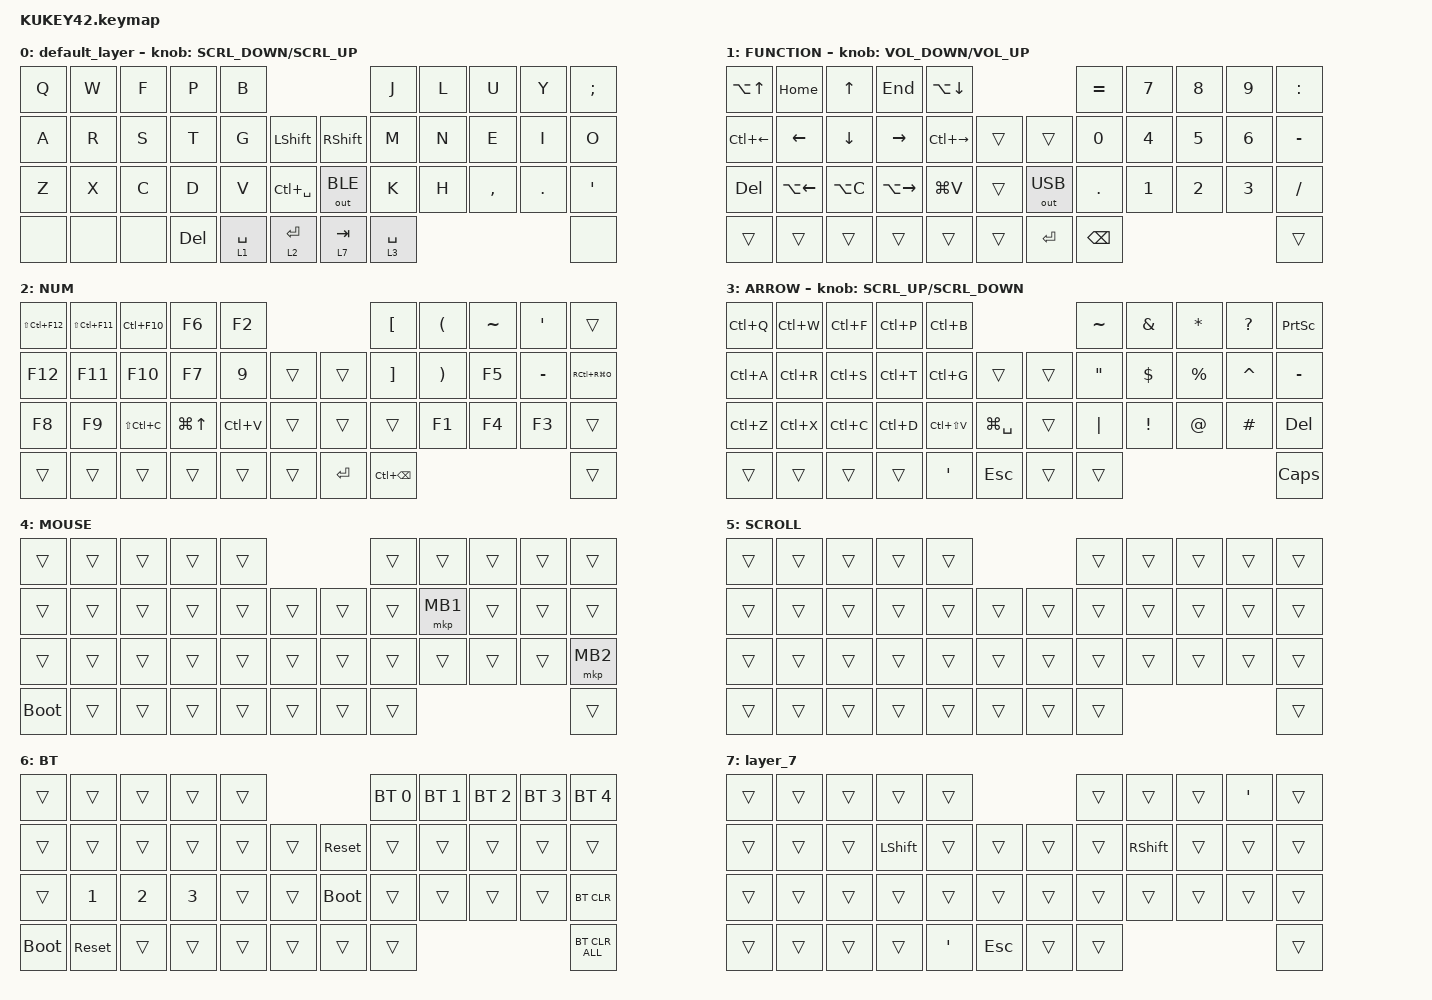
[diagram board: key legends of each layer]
#define ZMK_POINTING_DEFAULT_SCRL_VAL 80

#include <behaviors.dtsi>
#include <dt-bindings/zmk/bt.h>
#include <dt-bindings/zmk/keys.h>
#include <dt-bindings/zmk/outputs.h>
#include <dt-bindings/zmk/pointing.h>

#define MOUSE 4
#define SCROLL 5
#define NUM 6

&mt {
    flavor = "balanced";
    quick-tap-ms = <0>;
};

/ {
    combos {
        compatible = "zmk,combos";

        Rtshift {
            bindings = <&kp RSHIFT>;
            key-positions = <18 19>;
        };

        RtAlt {
            bindings = <&kp RIGHT_ALT>;
            key-positions = <17 18>;
        };

        Rtctl {
            bindings = <&kp RCTRL>;
            key-positions = <20 21>;
        };

        Ltshift {
            bindings = <&kp LEFT_SHIFT>;
            key-positions = <13 12>;
        };

        Ltwin {
            bindings = <&kp LCMD>;
            key-positions = <11 12>;
        };

        LtAlt {
            bindings = <&kp LEFT_ALT>;
            key-positions = <14 13>;
        };

        Ltctl {
            bindings = <&kp LCTRL>;
            key-positions = <10 11>;
        };

        RtWin {
            bindings = <&kp RIGHT_WIN>;
            key-positions = <19 20>;
        };

        BT {
            bindings = <&mo 6>;
            key-positions = <35 36>;
        };
    };

    macros {
        to_layer_0: to_layer_0 {
            compatible = "zmk,behavior-macro-one-param";
            #binding-cells = <1>;
            bindings = <&to 0 &macro_param_1to1 &kp MACRO_PLACEHOLDER>;
            label = "TO_LAYER_0";
        };
    };

    behaviors {
        lt_to_layer_0: lt_to_layer_0 {
            compatible = "zmk,behavior-hold-tap";
            label = "LAYER_TAP_TO_0";
            bindings = <&mo>, <&to_layer_0>;

            #binding-cells = <2>;
            tapping-term-ms = <200>;
        };

        tapdance_kana: tapdance_kana {
            compatible = "zmk,behavior-tap-dance";
            label = "TAPDANCE_KANA";
            #binding-cells = <0>;
            bindings = <&kp INT2>, <&kp LANGUAGE_2>, <&sl 1>;

            tapping-term-ms = <400>;
        };

        WheelScroll: WheelScroll {
            compatible = "zmk,behavior-sensor-rotate-var";
            label = "WHEELSCROLL";
            #sensor-binding-cells = <2>;
            bindings = <&msc>, <&msc>;

            tap-ms = <20>;
        };
    };

    keymap {
        compatible = "zmk,keymap";

        default_layer {
            bindings = <
&kp Q  &kp W  &kp F  &kp P       &kp B                                             &kp J        &kp L  &kp U      &kp Y    &kp SEMICOLON
&kp A  &kp R  &kp S  &kp T       &kp G        &kp LEFT_SHIFT      &kp RIGHT_SHIFT  &kp M        &kp N  &kp E      &kp I    &kp O
&kp Z  &kp X  &kp C  &kp D       &kp V        &kp LC(SPACE)       &out OUT_BLE     &kp K        &kp H  &kp COMMA  &kp DOT  &kp SQT
&none  &none  &none  &kp DELETE  &lt 1 SPACE  &lt 2 ENTER         &lt 7 TAB        &lt 3 SPACE                             &none
            >;

            sensor-bindings = <&WheelScroll SCRL_DOWN SCRL_UP>;
        };

        FUNCTION {
            bindings = <
&kp LA(UP_ARROW)    &kp HOME            &kp UP_ARROW    &kp END        &kp LA(DOWN_ARROW)                            &kp EQUAL      &kp N7        &kp N8        &kp N9        &kp COLON
&kp LC(LEFT_ARROW)  &kp LEFT_ARROW      &kp DOWN_ARROW  &kp RIGHT      &kp LC(RIGHT)       &trans      &trans        &kp N0         &kp NUMBER_4  &kp N5        &kp NUMBER_6  &kp MINUS
&kp DEL             &kp LA(LEFT_ARROW)  &kp LA(C)       &kp LA(RIGHT)  &kp LG(V)           &trans      &out OUT_USB  &kp PERIOD     &kp NUMBER_1  &kp NUMBER_2  &kp NUMBER_3  &kp SLASH
&trans              &trans              &trans          &trans         &trans              &trans      &kp ENTER     &kp BACKSPACE                                            &trans
            >;

            sensor-bindings = <&inc_dec_kp C_VOLUME_DOWN C_VOLUME_UP>;
        };

        NUM {
            bindings = <
&kp LS(LC(F12))  &kp LS(LC(F11))  &kp LC(F10)    &kp F6            &kp F2                            &kp LEFT_BRACKET   &kp LEFT_PARENTHESIS   &kp TILDE  &kp SQT    &trans
&kp F12          &kp F11          &kp F10        &kp F7            &kp N9     &trans      &trans     &kp RIGHT_BRACKET  &kp RIGHT_PARENTHESIS  &kp F5     &kp MINUS  &kp RC(RG(O))
&kp F8           &kp F9           &kp LS(LC(C))  &kp LG(UP_ARROW)  &kp LC(V)  &trans      &trans     &trans             &kp F1                 &kp F4     &kp F3     &trans
&trans           &trans           &trans         &trans            &trans     &trans      &kp ENTER  &kp LC(BACKSPACE)                                               &trans
            >;
        };

        ARROW {
            bindings = <
&kp LC(Q)  &kp LC(W)  &kp LC(F)  &kp LC(P)  &kp LC(B)                                 &kp TILDE          &kp AMPERSAND    &kp ASTERISK  &kp QUESTION  &kp PRINTSCREEN
&kp LC(A)  &kp LC(R)  &kp LC(S)  &kp LC(T)  &kp LC(G)      &trans             &trans  &kp DOUBLE_QUOTES  &kp DOLLAR       &kp PERCENT   &kp CARET     &kp MINUS
&kp LC(Z)  &kp LC(X)  &kp LC(C)  &kp LC(D)  &kp LC(LS(V))  &kp LG(SPACE)      &trans  &kp PIPE           &kp EXCLAMATION  &kp AT_SIGN   &kp HASH      &kp DELETE
&trans     &trans     &trans     &trans     &kp SQT        &kp ESCAPE         &trans  &trans                                                          &kp CAPS
            >;

            sensor-bindings = <&WheelScroll SCRL_UP SCRL_DOWN>;
        };

        MOUSE {
            bindings = <
&trans       &trans  &trans  &trans  &trans                      &trans  &trans    &trans  &trans  &trans
&trans       &trans  &trans  &trans  &trans  &trans      &trans  &trans  &mkp MB1  &trans  &trans  &trans
&trans       &trans  &trans  &trans  &trans  &trans      &trans  &trans  &trans    &trans  &trans  &mkp MB2
&bootloader  &trans  &trans  &trans  &trans  &trans      &trans  &trans                            &trans
            >;
        };

        SCROLL {
            bindings = <
&trans  &trans  &trans  &trans  &trans                      &trans  &trans  &trans  &trans  &trans
&trans  &trans  &trans  &trans  &trans  &trans      &trans  &trans  &trans  &trans  &trans  &trans
&trans  &trans  &trans  &trans  &trans  &trans      &trans  &trans  &trans  &trans  &trans  &trans
&trans  &trans  &trans  &trans  &trans  &trans      &trans  &trans                          &trans
            >;
        };

        BT {
            bindings = <
&trans       &trans        &trans        &trans        &trans                           &bt BT_SEL 0  &bt BT_SEL 1  &bt BT_SEL 2  &bt BT_SEL 3  &bt BT_SEL 4
&trans       &trans        &trans        &trans        &trans  &trans      &sys_reset   &trans        &trans        &trans        &trans        &trans
&trans       &kp NUMBER_1  &kp NUMBER_2  &kp NUMBER_3  &trans  &trans      &bootloader  &trans        &trans        &trans        &trans        &bt BT_CLR
&bootloader  &sys_reset    &trans        &trans        &trans  &trans      &trans       &trans                                                  &bt BT_CLR_ALL
            >;
        };

        layer_7 {
            bindings = <
&trans  &trans  &trans  &trans          &trans                           &trans  &trans           &trans  &kp SQT  &trans
&trans  &trans  &trans  &kp LEFT_SHIFT  &trans   &trans          &trans  &trans  &kp RIGHT_SHIFT  &trans  &trans   &trans
&trans  &trans  &trans  &trans          &trans   &trans          &trans  &trans  &trans           &trans  &trans   &trans
&trans  &trans  &trans  &trans          &kp SQT  &kp ESCAPE      &trans  &trans                                    &trans
            >;
        };
    };
};
